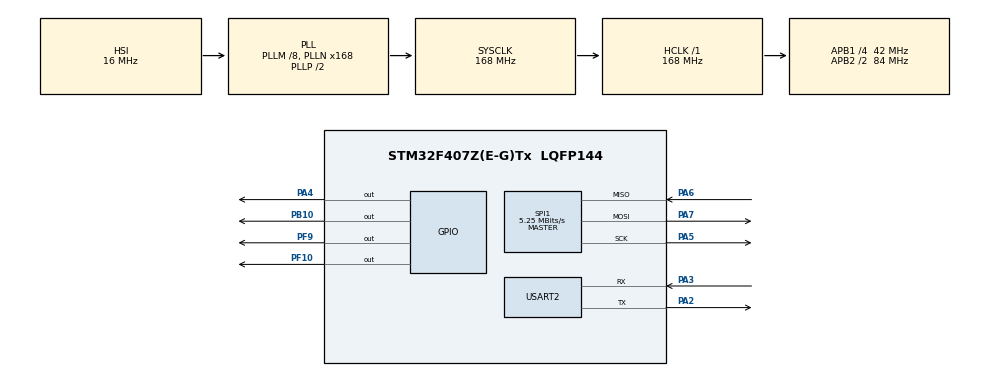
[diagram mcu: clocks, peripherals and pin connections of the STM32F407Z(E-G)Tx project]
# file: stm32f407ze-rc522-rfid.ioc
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Mcu.Family=STM32F4
Mcu.Name=STM32F407Z(E-G)Tx
Mcu.Package=LQFP144
NVIC.PriorityGroup=NVIC_PRIORITYGROUP_4
PA13.Mode=Trace_Asynchronous_SW
PA13.Signal=SYS_JTMS-SWDIO
PA14.Mode=Trace_Asynchronous_SW
PA14.Signal=SYS_JTCK-SWCLK
PA2.Mode=Asynchronous
PA2.Signal=USART2_TX
PA3.Mode=Asynchronous
PA3.Signal=USART2_RX
PA4.Signal=GPIO_Output
PA5.Mode=Full_Duplex_Master
PA5.Signal=SPI1_SCK
PA6.Mode=Full_Duplex_Master
PA6.Signal=SPI1_MISO
PA7.Mode=Full_Duplex_Master
PA7.Signal=SPI1_MOSI
PB10.Signal=GPIO_Output
PB3.Mode=Trace_Asynchronous_SW
PB3.Signal=SYS_JTDO-SWO
PF10.Signal=GPIO_Output
PF9.Signal=GPIO_Output
PH0-OSC_IN.Mode=HSE-External-Oscillator
PH0-OSC_IN.Signal=RCC_OSC_IN
PH1-OSC_OUT.Mode=HSE-External-Oscillator
PH1-OSC_OUT.Signal=RCC_OSC_OUT
ProjectManager.HeapSize=0x200
ProjectManager.StackSize=0x400
ProjectManager.TargetToolchain=STM32CubeIDE
RCC.48MHZClocksFreq_Value=84000000
RCC.AHBFreq_Value=168000000
RCC.APB1CLKDivider=RCC_HCLK_DIV4
RCC.APB1Freq_Value=42000000
RCC.APB1TimFreq_Value=84000000
RCC.APB2CLKDivider=RCC_HCLK_DIV2
RCC.APB2Freq_Value=84000000
RCC.APB2TimFreq_Value=168000000
RCC.CortexFreq_Value=168000000
RCC.HCLKFreq_Value=168000000
RCC.HSE_VALUE=8000000
RCC.HSI_VALUE=16000000
RCC.LSE_VALUE=32768
RCC.PLLM=8
RCC.PLLN=168
RCC.SYSCLKFreq_VALUE=168000000
RCC.SYSCLKSource=RCC_SYSCLKSOURCE_PLLCLK
RCC.VCOOutputFreq_Value=336000000
SPI1.BaudRatePrescaler=SPI_BAUDRATEPRESCALER_16
SPI1.CalculateBaudRate=5.25 MBits/s
SPI1.Direction=SPI_DIRECTION_2LINES
SPI1.FirstBit=SPI_FIRSTBIT_MSB
SPI1.Mode=SPI_MODE_MASTER
SPI1.VirtualType=VM_MASTER
USART2.VirtualMode=VM_ASYNC
board=custom

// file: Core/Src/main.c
/* USER CODE BEGIN Header */
/**
  ******************************************************************************
  * @file           : main.c
  * @brief          : Main program body
  ******************************************************************************
  * @attention
  *
  * <h2><center>&copy; Copyright (c) 2020 STMicroelectronics.
  * All rights reserved.</center></h2>
  *
  * This software component is licensed by ST under BSD 3-Clause license,
  * the "License"; You may not use this file except in compliance with the
  * License. You may obtain a copy of the License at:
  *                        opensource.org/licenses/BSD-3-Clause
  *
  ******************************************************************************
  */
/* USER CODE END Header */

#include "main.h"

/* USER CODE BEGIN Includes */
#include <rc522.h>
#include <stdio.h>
/* USER CODE END Includes */

SPI_HandleTypeDef hspi1;

UART_HandleTypeDef huart2;

/* USER CODE BEGIN PV */
uint32_t tick;
uint32_t st;
uint8_t data[]="HELLO WORLD\n"; // transmit
uint8_t t=10;
// variable RFID
unsigned long number = 0;
uint8_t can_data[5];
unsigned char CardID[50];
unsigned char MyID[5] = {0xB5, 0x2D, 0xE3, 0x52, 0x29};	//My card on my keys
/* USER CODE END PV */

void SystemClock_Config(void);
static void MX_GPIO_Init(void);
static void MX_SPI1_Init(void);
static void MX_USART2_UART_Init(void);
/* USER CODE BEGIN PFP */
uint8_t MFRC522_Check(uint8_t* id);
uint8_t MFRC522_Compare(uint8_t* CardID, uint8_t* CompareID);
void MFRC522_WriteRegister(uint8_t addr, uint8_t val);
uint8_t MFRC522_ReadRegister(uint8_t addr);
void MFRC522_SetBitMask(uint8_t reg, uint8_t mask);
void MFRC522_ClearBitMask(uint8_t reg, uint8_t mask);
uint8_t MFRC522_Request(uint8_t reqMode, uint8_t* TagType);
uint8_t MFRC522_ToCard(uint8_t command, uint8_t* sendData, uint8_t sendLen, uint8_t* backData, uint16_t* backLen);
uint8_t MFRC522_Anticoll(uint8_t* serNum);
void MFRC522_CalulateCRC(uint8_t* pIndata, uint8_t len, uint8_t* pOutData);
uint8_t MFRC522_SelectTag(uint8_t* serNum);
uint8_t MFRC522_Auth(uint8_t authMode, uint8_t BlockAddr, uint8_t* Sectorkey, uint8_t* serNum);
uint8_t MFRC522_Read(uint8_t blockAddr, uint8_t* recvData);
uint8_t MFRC522_Write(uint8_t blockAddr, uint8_t* writeData);
void MFRC522_Init(void);
void MFRC522_Reset(void);
void MFRC522_AntennaOn(void);
void MFRC522_AntennaOff(void);
void MFRC522_Halt(void);
/* USER CODE END PFP */

int main(void)
{

  /* MCU Configuration--------------------------------------------------------*/

  /* Reset of all peripherals, Initializes the Flash interface and the Systick. */
  HAL_Init();

  /* Configure the system clock */
  SystemClock_Config();

  /* Initialize all configured peripherals */
  MX_GPIO_Init();
  MX_SPI1_Init();
  MX_USART2_UART_Init();
  /* USER CODE BEGIN 2 */
  MFRC522_Init();
  //memset(buffer, 0, sizeof(buffer));
  /* USER CODE END 2 */

  /* Infinite loop */
  while (1)
  {

    /* USER CODE BEGIN 3 */
	  if (MFRC522_Check(CardID) == MI_OK) {
		  if (MFRC522_Compare(CardID, MyID) == MI_OK) {
			  //number |= CardID[0]<<24|CardID[1]<<16|CardID[2]<<8|CardID[3];
			  //number |= CardID[0];
			  HAL_GPIO_TogglePin(GPIOF, GPIO_PIN_10);
			  HAL_Delay(100);
			  can_data[0] = CardID[0];
			  can_data[1] = CardID[1];
			  can_data[2] = CardID[2];
			  can_data[3] = CardID[3];
			  can_data[4] = CardID[4];
//			  can1 |= number>>24|0x00;
//			  can2 |= number>>16|0x00;
//			  can3 |= number>>8|0x00;
//			  can4 |= number|0x00;
		  }
	  }
	  HAL_Delay(50);
	  for (int i = 0; i < sizeof(CardID)/sizeof(CardID[0]); ++i) {
		  CardID[i] = 0x00;
	  }
	  number = 0;
	  tick = HAL_GetTick();

//	  CardID[0] = 0x00;
//	  CardID[1] = 0x00;
//	  CardID[2] = 0x00;
//	  CardID[3] = 0x00;
//	  CardID[4] = 0x00;
  }
  /* USER CODE END 3 */
}

void SystemClock_Config(void)
{
  RCC_OscInitTypeDef RCC_OscInitStruct = {0};
  RCC_ClkInitTypeDef RCC_ClkInitStruct = {0};

  /** Configure the main internal regulator output voltage
  */
  __HAL_RCC_PWR_CLK_ENABLE();
  __HAL_PWR_VOLTAGESCALING_CONFIG(PWR_REGULATOR_VOLTAGE_SCALE1);
  /** Initializes the CPU, AHB and APB busses clocks
  */
  RCC_OscInitStruct.OscillatorType = RCC_OSCILLATORTYPE_HSI;
  RCC_OscInitStruct.HSIState = RCC_HSI_ON;
  RCC_OscInitStruct.HSICalibrationValue = RCC_HSICALIBRATION_DEFAULT;
  RCC_OscInitStruct.PLL.PLLState = RCC_PLL_ON;
  RCC_OscInitStruct.PLL.PLLSource = RCC_PLLSOURCE_HSI;
  RCC_OscInitStruct.PLL.PLLM = 8;
  RCC_OscInitStruct.PLL.PLLN = 168;
  RCC_OscInitStruct.PLL.PLLP = RCC_PLLP_DIV2;
  RCC_OscInitStruct.PLL.PLLQ = 4;
  if (HAL_RCC_OscConfig(&RCC_OscInitStruct) != HAL_OK)
  {
    Error_Handler();
  }
  /** Initializes the CPU, AHB and APB busses clocks
  */
  RCC_ClkInitStruct.ClockType = RCC_CLOCKTYPE_HCLK|RCC_CLOCKTYPE_SYSCLK
                              |RCC_CLOCKTYPE_PCLK1|RCC_CLOCKTYPE_PCLK2;
  RCC_ClkInitStruct.SYSCLKSource = RCC_SYSCLKSOURCE_PLLCLK;
  RCC_ClkInitStruct.AHBCLKDivider = RCC_SYSCLK_DIV1;
  RCC_ClkInitStruct.APB1CLKDivider = RCC_HCLK_DIV4;
  RCC_ClkInitStruct.APB2CLKDivider = RCC_HCLK_DIV2;

  if (HAL_RCC_ClockConfig(&RCC_ClkInitStruct, FLASH_LATENCY_5) != HAL_OK)
  {
    Error_Handler();
  }
}

static void MX_SPI1_Init(void)
{

  /* SPI1 parameter configuration*/
  hspi1.Instance = SPI1;
  hspi1.Init.Mode = SPI_MODE_MASTER;
  hspi1.Init.Direction = SPI_DIRECTION_2LINES;
  hspi1.Init.DataSize = SPI_DATASIZE_8BIT;
  hspi1.Init.CLKPolarity = SPI_POLARITY_LOW;
  hspi1.Init.CLKPhase = SPI_PHASE_1EDGE;
  hspi1.Init.NSS = SPI_NSS_SOFT;
  hspi1.Init.BaudRatePrescaler = SPI_BAUDRATEPRESCALER_16;
  hspi1.Init.FirstBit = SPI_FIRSTBIT_MSB;
  hspi1.Init.TIMode = SPI_TIMODE_DISABLE;
  hspi1.Init.CRCCalculation = SPI_CRCCALCULATION_DISABLE;
  hspi1.Init.CRCPolynomial = 10;
  if (HAL_SPI_Init(&hspi1) != HAL_OK)
  {
    Error_Handler();
  }

}

static void MX_USART2_UART_Init(void)
{

  huart2.Instance = USART2;
  huart2.Init.BaudRate = 115200;
  huart2.Init.WordLength = UART_WORDLENGTH_8B;
  huart2.Init.StopBits = UART_STOPBITS_1;
  huart2.Init.Parity = UART_PARITY_NONE;
  huart2.Init.Mode = UART_MODE_TX_RX;
  huart2.Init.HwFlowCtl = UART_HWCONTROL_NONE;
  huart2.Init.OverSampling = UART_OVERSAMPLING_16;
  if (HAL_UART_Init(&huart2) != HAL_OK)
  {
    Error_Handler();
  }

}

static void MX_GPIO_Init(void)
{
  GPIO_InitTypeDef GPIO_InitStruct = {0};

  /* GPIO Ports Clock Enable */
  __HAL_RCC_GPIOF_CLK_ENABLE();
  __HAL_RCC_GPIOH_CLK_ENABLE();
  __HAL_RCC_GPIOA_CLK_ENABLE();
  __HAL_RCC_GPIOB_CLK_ENABLE();

  /*Configure GPIO pin Output Level */
  HAL_GPIO_WritePin(GPIOF, GPIO_PIN_9|GPIO_PIN_10, GPIO_PIN_RESET);

  /*Configure GPIO pin Output Level */
  HAL_GPIO_WritePin(GPIOA, GPIO_PIN_4, GPIO_PIN_RESET);

  /*Configure GPIO pin Output Level */
  HAL_GPIO_WritePin(GPIOB, GPIO_PIN_10, GPIO_PIN_RESET);

  /*Configure GPIO pins : PF9 PF10 */
  GPIO_InitStruct.Pin = GPIO_PIN_9|GPIO_PIN_10;
  GPIO_InitStruct.Mode = GPIO_MODE_OUTPUT_PP;
  GPIO_InitStruct.Pull = GPIO_NOPULL;
  GPIO_InitStruct.Speed = GPIO_SPEED_FREQ_LOW;
  HAL_GPIO_Init(GPIOF, &GPIO_InitStruct);

  /*Configure GPIO pin : PA4 */
  GPIO_InitStruct.Pin = GPIO_PIN_4;
  GPIO_InitStruct.Mode = GPIO_MODE_OUTPUT_PP;
  GPIO_InitStruct.Pull = GPIO_NOPULL;
  GPIO_InitStruct.Speed = GPIO_SPEED_FREQ_LOW;
  HAL_GPIO_Init(GPIOA, &GPIO_InitStruct);

  /*Configure GPIO pin : PB10 */
  GPIO_InitStruct.Pin = GPIO_PIN_10;
  GPIO_InitStruct.Mode = GPIO_MODE_OUTPUT_PP;
  GPIO_InitStruct.Pull = GPIO_NOPULL;
  GPIO_InitStruct.Speed = GPIO_SPEED_FREQ_LOW;
  HAL_GPIO_Init(GPIOB, &GPIO_InitStruct);

}

void Error_Handler(void)
{
}

/************************ (C) COPYRIGHT STMicroelectronics *****END OF FILE****/
